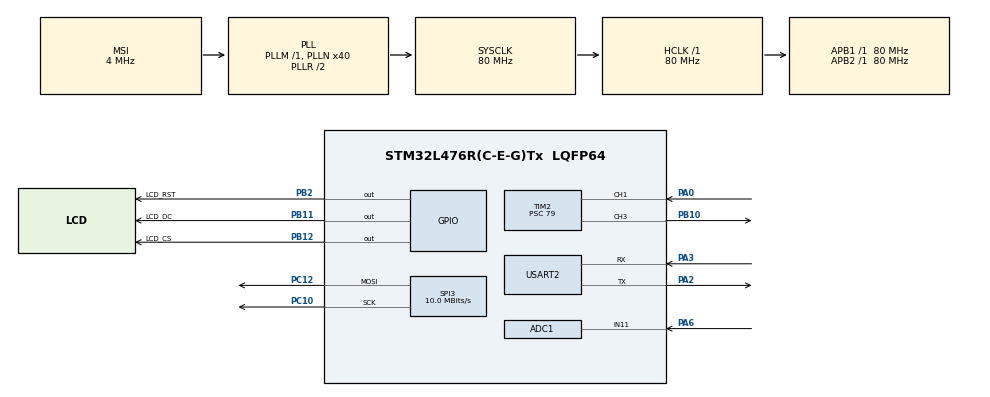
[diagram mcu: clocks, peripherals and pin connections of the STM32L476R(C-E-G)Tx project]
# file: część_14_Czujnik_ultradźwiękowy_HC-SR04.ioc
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ADC1.Channel-0\#ChannelRegularConversion=ADC_CHANNEL_11
ADC1.ContinuousConvMode=ENABLE
ADC1.NbrOfConversionFlag=1
ADC1.OffsetNumber-0\#ChannelRegularConversion=ADC_OFFSET_NONE
ADC1.Overrun=ADC_OVR_DATA_OVERWRITTEN
ADC1.Rank-0\#ChannelRegularConversion=1
ADC1.SamplingTime-0\#ChannelRegularConversion=ADC_SAMPLETIME_640CYCLES_5
ADC1.master=1
Dma.Request0=SPI3_TX
Dma.SPI3_TX.0.Direction=DMA_MEMORY_TO_PERIPH
Dma.SPI3_TX.0.Instance=DMA2_Channel2
Dma.SPI3_TX.0.MemDataAlignment=DMA_MDATAALIGN_BYTE
Dma.SPI3_TX.0.MemInc=DMA_MINC_ENABLE
Dma.SPI3_TX.0.Mode=DMA_NORMAL
Dma.SPI3_TX.0.PeriphDataAlignment=DMA_PDATAALIGN_BYTE
Dma.SPI3_TX.0.PeriphInc=DMA_PINC_DISABLE
Dma.SPI3_TX.0.Priority=DMA_PRIORITY_LOW
Mcu.Family=STM32L4
Mcu.Name=STM32L476R(C-E-G)Tx
Mcu.Package=LQFP64
NVIC.DMA2_Channel2_IRQn=true\:2\:0\:true\:false\:true\:false\:true\:true
NVIC.PriorityGroup=NVIC_PRIORITYGROUP_4
NVIC.USART2_IRQn=true\:12\:0\:true\:false\:true\:true\:true\:true
PA0.Signal=S_TIM2_CH1
PA2.Mode=Asynchronous
PA2.Signal=USART2_TX
PA3.Mode=Asynchronous
PA3.Signal=USART2_RX
PA6.Signal=ADCx_IN11
PB10.Signal=S_TIM2_CH3
PB11.GPIO_Label=LCD_DC
PB11.Signal=GPIO_Output
PB12.GPIO_Label=LCD_CS
PB12.PinState=GPIO_PIN_SET
PB12.Signal=GPIO_Output
PB2.GPIO_Label=LCD_RST
PB2.Signal=GPIO_Output
PC10.Mode=TX_Only_Simplex_Unidirect_Master
PC10.Signal=SPI3_SCK
PC12.Mode=TX_Only_Simplex_Unidirect_Master
PC12.Signal=SPI3_MOSI
ProjectManager.HeapSize=0x200
ProjectManager.StackSize=0x400
ProjectManager.TargetToolchain=STM32CubeIDE
RCC.ADCFreq_Value=32000000
RCC.AHBFreq_Value=80000000
RCC.APB1Freq_Value=80000000
RCC.APB1TimFreq_Value=80000000
RCC.APB2Freq_Value=80000000
RCC.APB2TimFreq_Value=80000000
RCC.CortexFreq_Value=80000000
RCC.HCLKFreq_Value=80000000
RCC.HSE_VALUE=8000000
RCC.HSI_VALUE=16000000
RCC.LSE_VALUE=32768
RCC.MSI_VALUE=4000000
RCC.PLLN=40
RCC.PLLSAI1N=16
RCC.SYSCLKFreq_VALUE=80000000
RCC.SYSCLKSource=RCC_SYSCLKSOURCE_PLLCLK
RCC.USBFreq_Value=32000000
RCC.VCOOutputFreq_Value=160000000
SH.ADCx_IN11.0=ADC1_IN11,IN11-Single-Ended
SH.S_TIM2_CH1.0=TIM2_CH1,Input_Capture1_from_TI1
SH.S_TIM2_CH3.0=TIM2_CH3,PWM Generation3 CH3
SPI3.BaudRatePrescaler=SPI_BAUDRATEPRESCALER_8
SPI3.CalculateBaudRate=10.0 MBits/s
SPI3.DataSize=SPI_DATASIZE_8BIT
SPI3.Direction=SPI_DIRECTION_2LINES
SPI3.Mode=SPI_MODE_MASTER
SPI3.NSSPMode=SPI_NSS_PULSE_DISABLE
SPI3.VirtualType=VM_MASTER
TIM2.Channel-Input_Capture1_from_TI1=TIM_CHANNEL_1
TIM2.Channel-Input_Capture2_from_TI1_63=TIM_CHANNEL_2
TIM2.Channel-PWM\ Generation3\ CH3=TIM_CHANNEL_3
TIM2.ICPolarity_CH1=TIM_INPUTCHANNELPOLARITY_RISING
TIM2.ICPolarity_CH2=TIM_INPUTCHANNELPOLARITY_FALLING
TIM2.Period=999999
TIM2.Prescaler=79
TIM2.Pulse-PWM\ Generation3\ CH3=10
USART2.VirtualMode-Asynchronous=VM_ASYNC
VP_TIM2_VS_ClockSourceINT.Mode=Internal
VP_TIM2_VS_indirect_ch1.Mode=Input_Capture2_from_TI1_63
board=custom

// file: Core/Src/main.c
/* USER CODE BEGIN Header */
/**
  ******************************************************************************
  * @file           : main.c
  * @brief          : Main program body
  ******************************************************************************
  * @attention
  *
  * Copyright (c) 2026 STMicroelectronics.
  * All rights reserved.
  *
  * This software is licensed under terms that can be found in the LICENSE file
  * in the root directory of this software component.
  * If no LICENSE file comes with this software, it is provided AS-IS.
  *
  ******************************************************************************
  */
/* USER CODE END Header */
#include "main.h"
#include "adc.h"
#include "dma.h"
#include "spi.h"
#include "tim.h"
#include "usart.h"
#include "gpio.h"

/* USER CODE BEGIN Includes */
#include "stdio.h"
#include "hagl.h"
#include "font6x9.h"
#include "rgb565.h"
#include "string.h"
#include "math.h"
/* USER CODE END Includes */

void SystemClock_Config(void);

/* USER CODE BEGIN 0 */
void HAL_SPI_TxCpltCallback(SPI_HandleTypeDef *hspi)
{
	if (hspi == &hspi3)
	{
		lcd_transfer_done();
	}
}

int __io_putchar(int ch)
{
  if (ch == '\n') {
    __io_putchar('\r');
  }
  HAL_UART_Transmit(&huart2, (uint8_t*)&ch, 1, HAL_MAX_DELAY);
  return 1;
}

/* USER CODE END 0 */

int main(void)
{

  /* MCU Configuration--------------------------------------------------------*/

  /* Reset of all peripherals, Initializes the Flash interface and the Systick. */
  HAL_Init();

  /* Configure the system clock */
  SystemClock_Config();

  /* Initialize all configured peripherals */
  MX_GPIO_Init();
  MX_DMA_Init();
  MX_USART2_UART_Init();
  MX_SPI3_Init();
  MX_TIM2_Init();
  MX_ADC1_Init();
  /* USER CODE BEGIN 2 */
lcd_init(&hspi3);
hagl_backend_t *display = hagl_init();
wchar_t textBuffer [24];

HAL_TIM_IC_Start(&htim2, TIM_CHANNEL_1);
HAL_TIM_IC_Start(&htim2, TIM_CHANNEL_2);
HAL_TIM_PWM_Start(&htim2, TIM_CHANNEL_3);

HAL_ADCEx_Calibration_Start(&hadc1, ADC_SINGLE_ENDED);
HAL_ADC_Start(&hadc1);

hagl_put_text(display, L"HC-SR04", 10, 30, rgb565(255, 255, 255), font6x9);
hagl_put_text(display, L"LM35", 10, 60, rgb565(255, 255, 255), font6x9);
hagl_flush(display);

HAL_Delay(500);
  /* USER CODE END 2 */

  /* Infinite loop */
  while (1)
  {

    /* USER CODE BEGIN 3 */
	  while(lcd_is_busy()) {}

	  	  uint32_t rising_edge = HAL_TIM_ReadCapturedValue(&htim2, TIM_CHANNEL_1);
	  	  uint32_t falling_edge = HAL_TIM_ReadCapturedValue(&htim2, TIM_CHANNEL_2);

	  	  float temperature = HAL_ADC_GetValue(&hadc1) * 330.0f / 4096.0f;
	  	  float speed = 331.8f + 0.6f * temperature;

	  	  float distance = (falling_edge - rising_edge) * speed / 20000.0f;

	  	  printf("Rising edge: %lu Falling edge: %lu Distance: %.3f cm\n", rising_edge, falling_edge, distance);
	  	  printf("Temperature: %.2f\u00B0C Speed %5.1f\n", temperature, speed);

	  	  swprintf(textBuffer, sizeof(textBuffer)/sizeof(wchar_t), L"Rising edge: %lu", rising_edge);
	  	  hagl_put_text(display, textBuffer, 10, 20, rgb565(255, 255, 255), font6x9);

	  	  swprintf(textBuffer, sizeof(textBuffer)/sizeof(wchar_t), L"Falling edge: %lu", falling_edge);
	  	  hagl_put_text(display, textBuffer, 10, 30, rgb565(255, 255, 255), font6x9);

	  	  swprintf(textBuffer, sizeof(textBuffer)/sizeof(wchar_t), L"Distance: %06.2f cm", distance);
	  	  hagl_put_text(display, textBuffer, 10, 40, rgb565(255, 255, 255), font6x9);

	  	  swprintf(textBuffer, sizeof(textBuffer)/sizeof(wchar_t), L"Temperature: %.2f \u00B0C", temperature);
	  	  hagl_put_text(display, textBuffer, 10, 70, rgb565(255, 255, 255), font6x9);

	  	  swprintf(textBuffer, sizeof(textBuffer)/sizeof(wchar_t), L"Speed: %5.1f m/s", speed);
	  	  hagl_put_text(display, textBuffer, 10, 80, rgb565(255, 255, 255), font6x9);

	  	  hagl_flush(display);
	  	  HAL_Delay(1000);
  }
  /* USER CODE END 3 */
}

void SystemClock_Config(void)
{
  RCC_OscInitTypeDef RCC_OscInitStruct = {0};
  RCC_ClkInitTypeDef RCC_ClkInitStruct = {0};

  /** Configure the main internal regulator output voltage
  */
  if (HAL_PWREx_ControlVoltageScaling(PWR_REGULATOR_VOLTAGE_SCALE1) != HAL_OK)
  {
    Error_Handler();
  }

  /** Initializes the RCC Oscillators according to the specified parameters
  * in the RCC_OscInitTypeDef structure.
  */
  RCC_OscInitStruct.OscillatorType = RCC_OSCILLATORTYPE_MSI;
  RCC_OscInitStruct.MSIState = RCC_MSI_ON;
  RCC_OscInitStruct.MSICalibrationValue = 0;
  RCC_OscInitStruct.MSIClockRange = RCC_MSIRANGE_6;
  RCC_OscInitStruct.PLL.PLLState = RCC_PLL_ON;
  RCC_OscInitStruct.PLL.PLLSource = RCC_PLLSOURCE_MSI;
  RCC_OscInitStruct.PLL.PLLM = 1;
  RCC_OscInitStruct.PLL.PLLN = 40;
  RCC_OscInitStruct.PLL.PLLP = RCC_PLLP_DIV7;
  RCC_OscInitStruct.PLL.PLLQ = RCC_PLLQ_DIV2;
  RCC_OscInitStruct.PLL.PLLR = RCC_PLLR_DIV2;
  if (HAL_RCC_OscConfig(&RCC_OscInitStruct) != HAL_OK)
  {
    Error_Handler();
  }

  /** Initializes the CPU, AHB and APB buses clocks
  */
  RCC_ClkInitStruct.ClockType = RCC_CLOCKTYPE_HCLK|RCC_CLOCKTYPE_SYSCLK
                              |RCC_CLOCKTYPE_PCLK1|RCC_CLOCKTYPE_PCLK2;
  RCC_ClkInitStruct.SYSCLKSource = RCC_SYSCLKSOURCE_PLLCLK;
  RCC_ClkInitStruct.AHBCLKDivider = RCC_SYSCLK_DIV1;
  RCC_ClkInitStruct.APB1CLKDivider = RCC_HCLK_DIV1;
  RCC_ClkInitStruct.APB2CLKDivider = RCC_HCLK_DIV1;

  if (HAL_RCC_ClockConfig(&RCC_ClkInitStruct, FLASH_LATENCY_4) != HAL_OK)
  {
    Error_Handler();
  }
}

void Error_Handler(void)
{
  __disable_irq();
  while (1)
  {
  }
}
